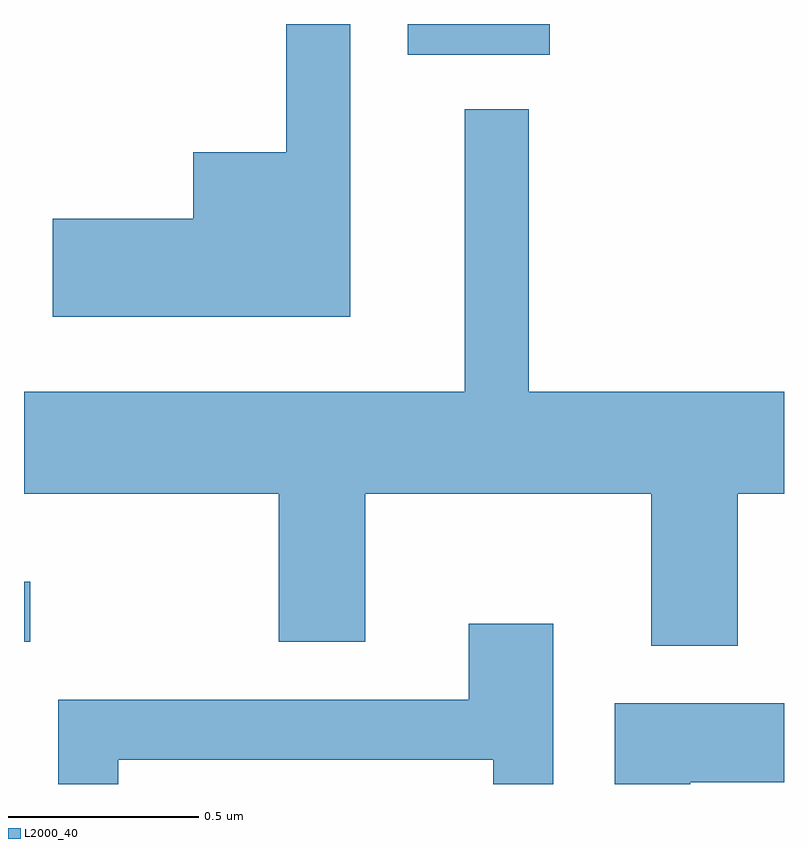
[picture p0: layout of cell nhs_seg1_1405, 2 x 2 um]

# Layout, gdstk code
import gdstk
lib = gdstk.Library(unit=1e-6, precision=1e-09)
def R(c, l, rs):  # rectangles x0, y0, x1, y1
    for r in rs: c.add(gdstk.rectangle(r[:2], r[2:], *l))
def P(c, l, *ps):  # polygons
    for p in ps: c.add(gdstk.Polygon(p, *l))
L2000_40 = (2000, 40)

nhs_seg1_1405 = lib.new_cell('nhs_seg1_1405')
R(nhs_seg1_1405, L2000_40, [(195.611,888.086,195.628,888.244), (196.621,889.631,196.994,889.712)])
P(nhs_seg1_1405, L2000_40, [(196.469,889.712),(196.301,889.712),(196.301,889.374),(196.056,889.374),(196.056,889.199),(195.686,889.199),(195.686,888.941),(196.469,888.941)],
  [(197.489,888.476),(197.611,888.476),(197.611,888.744),(196.939,888.744),(196.939,889.488),(196.771,889.488),(196.771,888.744),(195.611,888.744),(195.611,888.476),(196.281,888.476),(196.281,888.086),(196.509,888.086),(196.509,888.476),(197.261,888.476),(197.261,888.076),(197.489,888.076)],
  [(195.859,887.776),(196.846,887.776),(196.846,887.712),(197.004,887.712),(197.004,888.134),(196.781,888.134),(196.781,887.934),(195.701,887.934),(195.701,887.712),(195.859,887.712)],
  [(197.364,887.716),(197.611,887.716),(197.611,887.924),(197.166,887.924),(197.166,887.712),(197.364,887.712)])

lib.write_gds('nhs_seg1_1405.gds')
